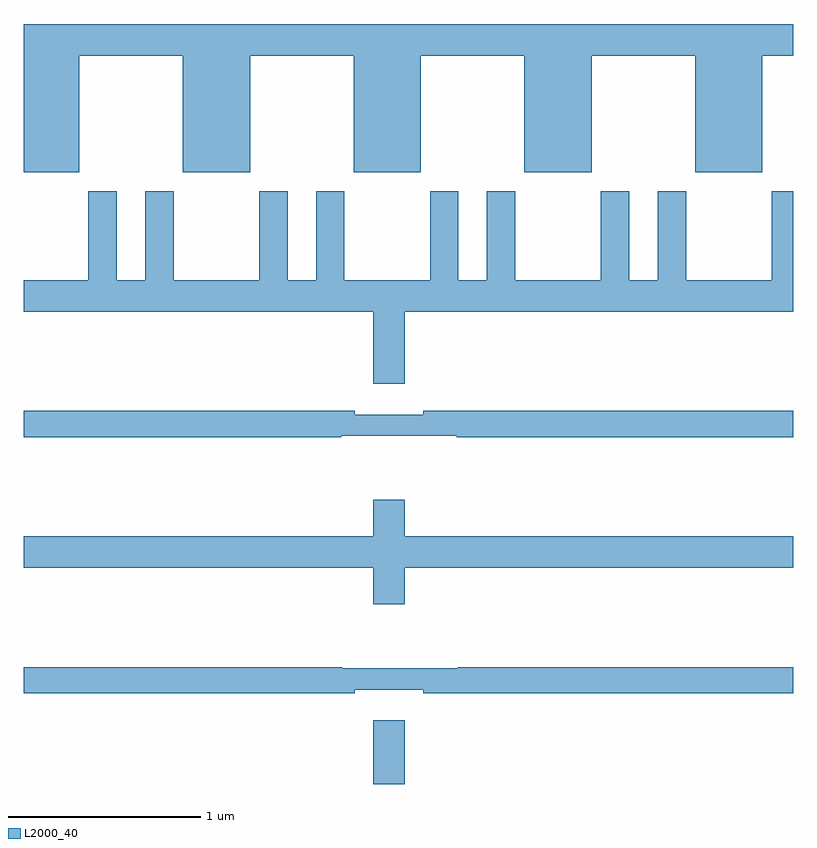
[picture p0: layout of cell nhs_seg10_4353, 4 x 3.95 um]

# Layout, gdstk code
import gdstk
lib = gdstk.Library(unit=1e-6, precision=1e-09)
def R(c, l, rs):  # rectangles x0, y0, x1, y1
    for r in rs: c.add(gdstk.rectangle(r[:2], r[2:], *l))
def P(c, l, *ps):  # polygons
    for p in ps: c.add(gdstk.Polygon(p, *l))
L2000_40 = (2000, 40)

nhs_seg10_4353 = lib.new_cell('nhs_seg10_4353')
R(nhs_seg10_4353, L2000_40, [(356.816,1324.5,356.98,1324.831)])
P(nhs_seg10_4353, L2000_40, [(355.288,1328.288),(355.826,1328.288),(355.826,1327.682),(356.176,1327.682),(356.176,1328.288),(356.714,1328.288),(356.714,1327.682),(357.064,1327.682),(357.064,1328.288),(357.602,1328.288),(357.602,1327.682),(357.952,1327.682),(357.952,1328.288),(358.49,1328.288),(358.49,1327.682),(358.84,1327.682),(358.84,1328.288),(359,1328.288),(359,1328.452),(355,1328.452),(355,1327.682),(355.288,1327.682)],
  [(356.98,1326.956),(359,1326.956),(359,1327.582),(358.888,1327.582),(358.888,1327.12),(358.443,1327.12),(358.443,1327.582),(358.295,1327.582),(358.295,1327.12),(358.147,1327.12),(358.147,1327.582),(358,1327.582),(358,1327.12),(357.555,1327.12),(357.555,1327.582),(357.407,1327.582),(357.407,1327.12),(357.259,1327.12),(357.259,1327.582),(357.112,1327.582),(357.112,1327.12),(356.667,1327.12),(356.667,1327.582),(356.519,1327.582),(356.519,1327.12),(356.371,1327.12),(356.371,1327.582),(356.224,1327.582),(356.224,1327.12),(355.779,1327.12),(355.779,1327.582),(355.631,1327.582),(355.631,1327.12),(355.483,1327.12),(355.483,1327.582),(355.336,1327.582),(355.336,1327.12),(355,1327.12),(355,1326.956),(356.816,1326.956),(356.816,1326.582),(356.98,1326.582)],
  [(356.65,1326.312),(357.25,1326.312),(357.25,1326.304),(359,1326.304),(359,1326.44),(357.076,1326.44),(357.076,1326.421),(356.72,1326.421),(356.72,1326.44),(355,1326.44),(355,1326.304),(356.65,1326.304)],
  [(356.98,1325.624),(359,1325.624),(359,1325.788),(356.98,1325.788),(356.98,1325.977),(356.816,1325.977),(356.816,1325.788),(355,1325.788),(355,1325.624),(356.816,1325.624),(356.816,1325.436),(356.98,1325.436)],
  [(356.72,1324.991),(357.076,1324.991),(357.076,1324.972),(359,1324.972),(359,1325.108),(357.255,1325.108),(357.255,1325.101),(356.655,1325.101),(356.655,1325.108),(355,1325.108),(355,1324.972),(356.72,1324.972)])

lib.write_gds('nhs_seg10_4353.gds')
